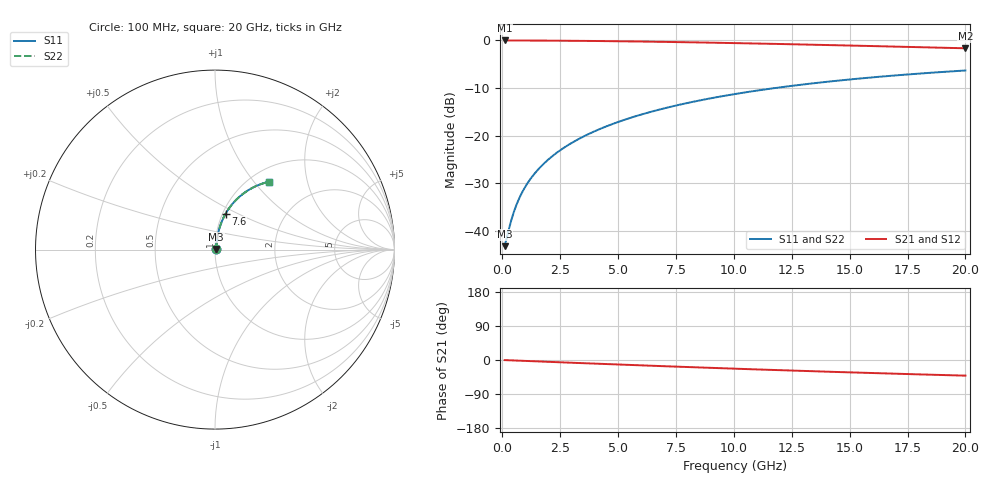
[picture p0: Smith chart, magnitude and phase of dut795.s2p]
! Touchstone file exported from HFSS 2024.1.0
!  File:  C:/UserFiles/LocalFiles/RDL_TSV_Batchsim/temp_RDL_bottom_795_1779861676.aedt
!  Generated:  02:03:49 PM May 27, 2026
!  Design:  RDL_bottom
!  Project:  temp_RDL_bottom_795_1779861676
!  Setup:  Setup1
!  Solution:  Sweep
! Variables:
!  dtsv = 10.80580581um
!  hbump = 3um
!  htsv = 68.94um
!  ldown = 484.66um
!  lrdl = 100um
!  p = 40
!  p1 = 55.52um
!  rhole = 1um
!  t = 450um
!  tdown = 2.06um
!  trdl = 3.915915916um
!  wdown = 13.53um
!  wrdl = 20um
# GHz S MA R 50.000000
! Terminal data exported
! Port[1] = RDL1_T1
! Port[2] = RDL1_T2
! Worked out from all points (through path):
!   200 points, 100 MHz to 20 GHz, reference 50 ohm
!   highest |S21| = -0.06 dB at 100 MHz (marker M1); lowest = -1.7 dB at 20 GHz (marker M2)
!   group delay of S21, straight-line fit = 5.74 ps
!   lowest |S11| = -43.1 dB at 100 MHz (marker M3), VSWR 1.01, Z = 50.6 + j0.294 ohm
!   |S11| at or under -10 dB: start of sweep to 11.81 GHz
!   |S22| runs from -43.1 to -6.3 dB; largest |S21 - S12| = 3.5e-15
!   S11 on the Smith chart (normalised r, x): 100 MHz: 1.01, +0.01; 7.6 GHz: 1.03, +0.43; 20 GHz: 1.21, +1.19
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0.1  0.00697 24.6  0.9937 -0.3  0.9937 -0.3  0.00697 24.6
! Gamma 0 0 0 0
! Port Impedance 50 0 50 0
0.4  0.01332 60.0  0.9934 -1.0  0.9934 -1.0  0.01332 60.0
0.5  0.01591 64.6  0.9932 -1.2  0.9932 -1.2  0.01591 64.6
0.6  0.01857 67.8  0.993 -1.5  0.993 -1.5  0.01857 67.8
0.7  0.02126 70.1  0.9928 -1.7  0.9928 -1.7  0.02126 70.1
0.9  0.02667 73.2  0.9924 -2.2  0.9924 -2.2  0.02667 73.2
1.2  0.03482 75.9  0.9917 -2.9  0.9917 -2.9  0.03482 75.9
1.4  0.04027 77.0  0.9913 -3.4  0.9913 -3.4  0.04027 77.0
1.7  0.04845 78.1  0.9905 -4.1  0.9905 -4.1  0.04845 78.1
2.2  0.06213 79.0  0.9889 -5.3  0.9889 -5.3  0.06213 79.0
2.8  0.0786 79.3  0.9867 -6.8  0.9867 -6.8  0.0786 79.3
3.5  0.09787 79.1  0.9836 -8.4  0.9836 -8.4  0.09787 79.1
4.2  0.1172 78.5  0.9799 -10.0  0.9799 -10.0  0.1172 78.5
5  0.1392 77.5  0.9751 -11.9  0.9751 -11.9  0.1392 77.5
5.9  0.1638 76.3  0.9689 -13.9  0.9689 -13.9  0.1638 76.2
6.8  0.1882 74.8  0.962 -16.0  0.962 -16.0  0.1882 74.8
7.6  0.2097 73.5  0.9554 -17.7  0.9554 -17.7  0.2096 73.5
10.1  0.2745 69.0  0.932 -23.1  0.932 -23.1  0.2744 69.0
11.7  0.3137 66.0  0.9156 -26.3  0.9156 -26.3  0.3137 66.0
13.4  0.3531 62.9  0.8972 -29.6  0.8972 -29.6  0.3531 62.9
16.7  0.4224 57.1  0.8601 -35.7  0.8601 -35.7  0.4223 57.1
20  0.4819 51.6  0.8227 -41.3  0.8227 -41.3  0.4818 51.6
